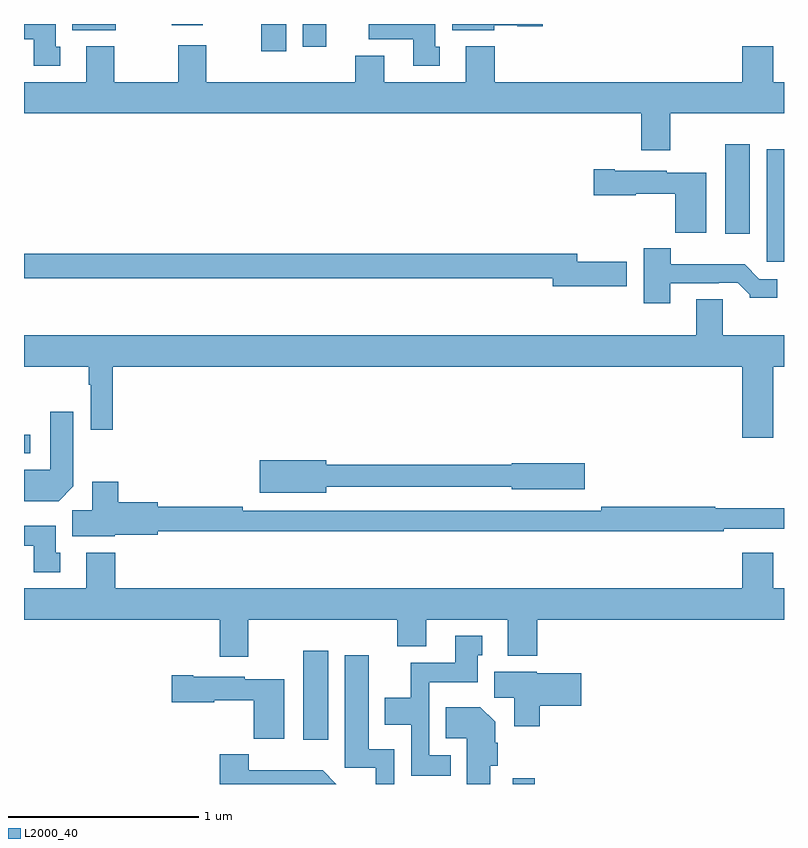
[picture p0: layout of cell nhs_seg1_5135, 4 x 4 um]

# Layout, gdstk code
import gdstk
lib = gdstk.Library(unit=1e-6, precision=1e-09)
def R(c, l, rs):  # rectangles x0, y0, x1, y1
    for r in rs: c.add(gdstk.rectangle(r[:2], r[2:], *l))
def P(c, l, *ps):  # polygons
    for p in ps: c.add(gdstk.Polygon(p, *l))
L2000_40 = (2000, 40)

nhs_seg1_5135 = lib.new_cell('nhs_seg1_5135')
R(nhs_seg1_5135, L2000_40, [(391.572,552.199,391.688,552.229), (390.47,552.432,390.601,552.901), (389,553.941,389.032,554.037), (392.909,554.949,393,555.541), (392.69,555.096,392.821,555.565), (390.248,556.056,390.379,556.199), (390.467,556.08,390.592,556.199), (389.255,556.166,389.482,556.199), (389.778,556.193,389.94,556.199)])
P(nhs_seg1_5135, L2000_40, [(391.189,556.08),(391.165,556.08),(391.165,556.199),(390.814,556.199),(390.814,556.118),(391.049,556.118),(391.049,555.978),(391.189,555.978)],
  [(391.476,556.193),(391.596,556.193),(391.596,556.186),(391.729,556.186),(391.729,556.199),(391.253,556.199),(391.253,556.166),(391.476,556.166)],
  [(389.191,556.08),(389.167,556.08),(389.167,556.199),(389,556.199),(389,556.118),(389.051,556.118),(389.051,555.978),(389.191,555.978)],
  [(392.401,555.728),(393,555.728),(393,555.892),(392.944,555.892),(392.944,556.081),(392.78,556.081),(392.78,555.892),(391.478,555.892),(391.478,556.081),(391.325,556.081),(391.325,555.892),(390.895,555.892),(390.895,556.033),(390.743,556.033),(390.743,555.892),(389.959,555.892),(389.959,556.087),(389.812,556.087),(389.812,555.892),(389.475,555.892),(389.475,556.081),(389.327,556.081),(389.327,555.892),(389,555.892),(389,555.728),(392.249,555.728),(392.249,555.534),(392.401,555.534)],
  [(392.59,555.415),(392.382,555.415),(392.382,555.427),(392.11,555.427),(392.11,555.435),(391.998,555.435),(391.998,555.298),(392.22,555.298),(392.22,555.305),(392.428,555.305),(392.428,555.101),(392.59,555.101)],
  [(392.401,554.835),(392.657,554.835),(392.657,554.838),(392.756,554.838),(392.82,554.774),(392.82,554.759),(392.965,554.759),(392.965,554.856),(392.871,554.856),(392.793,554.935),(392.404,554.935),(392.404,555.019),(392.261,555.019),(392.261,554.73),(392.401,554.73)],
  [(392.173,554.949),(391.912,554.949),(391.912,554.99),(389,554.99),(389,554.862),(391.784,554.862),(391.784,554.819),(392.173,554.819)],
  [(392.944,554.396),(393,554.396),(393,554.56),(392.677,554.56),(392.677,554.75),(392.537,554.75),(392.537,554.56),(389,554.56),(389,554.396),(389.34,554.396),(389.34,554.3),(389.352,554.3),(389.352,554.064),(389.468,554.064),(389.468,554.396),(392.78,554.396),(392.78,554.022),(392.944,554.022)],
  [(389.26,553.766),(389.26,554.158),(389.138,554.158),(389.138,553.852),(389,553.852),(389,553.688),(389.182,553.688)],
  [(390.592,553.764),(391.566,553.764),(391.566,553.751),(391.951,553.751),(391.951,553.886),(391.566,553.886),(391.566,553.88),(390.592,553.88),(390.592,553.904),(390.24,553.904),(390.24,553.733),(390.592,553.733)],
  [(389.478,553.511),(389.704,553.511),(389.704,553.53),(392.684,553.53),(392.684,553.542),(393,553.542),(393,553.651),(392.638,553.651),(392.638,553.658),(392.038,553.658),(392.038,553.638),(390.152,553.638),(390.152,553.658),(389.704,553.658),(389.704,553.682),(389.495,553.682),(389.495,553.789),(389.36,553.789),(389.36,553.64),(389.255,553.64),(389.255,553.502),(389.478,553.502)],
  [(389.191,553.416),(389.167,553.416),(389.167,553.558),(389,553.558),(389,553.454),(389.051,553.454),(389.051,553.314),(389.191,553.314)],
  [(390.181,553.064),(390.965,553.064),(390.965,552.923),(391.117,552.923),(391.117,553.064),(391.547,553.064),(391.547,552.875),(391.7,552.875),(391.7,553.064),(393,553.064),(393,553.228),(392.944,553.228),(392.944,553.417),(392.78,553.417),(392.78,553.228),(389.48,553.228),(389.48,553.417),(389.327,553.417),(389.327,553.228),(389,553.228),(389,553.064),(390.029,553.064),(390.029,552.87),(390.181,552.87)],
  [(391.246,552.351),(391.134,552.351),(391.134,552.734),(391.387,552.734),(391.387,552.876),(391.411,552.876),(391.411,552.979),(391.271,552.979),(391.271,552.838),(391.036,552.838),(391.036,552.652),(390.899,552.652),(390.899,552.512),(391.038,552.512),(391.038,552.243),(391.246,552.243)],
  [(390.948,552.382),(390.814,552.382),(390.814,552.877),(390.689,552.877),(390.689,552.285),(390.852,552.285),(390.852,552.199),(390.948,552.199)],
  [(391.715,552.611),(391.933,552.611),(391.933,552.781),(391.698,552.781),(391.698,552.79),(391.475,552.79),(391.475,552.652),(391.58,552.652),(391.58,552.504),(391.715,552.504)],
  [(390.37,552.751),(390.162,552.751),(390.162,552.763),(389.89,552.763),(389.89,552.771),(389.778,552.771),(389.778,552.629),(390,552.629),(390,552.641),(390.208,552.641),(390.208,552.437),(390.37,552.437)],
  [(391.453,552.294),(391.493,552.294),(391.493,552.416),(391.48,552.416),(391.48,552.526),(391.402,552.604),(391.219,552.604),(391.219,552.44),(391.331,552.44),(391.331,552.199),(391.453,552.199)],
  [(390.573,552.271),(390.184,552.271),(390.184,552.355),(390.029,552.355),(390.029,552.199),(390.644,552.199)])

lib.write_gds('nhs_seg1_5135.gds')
